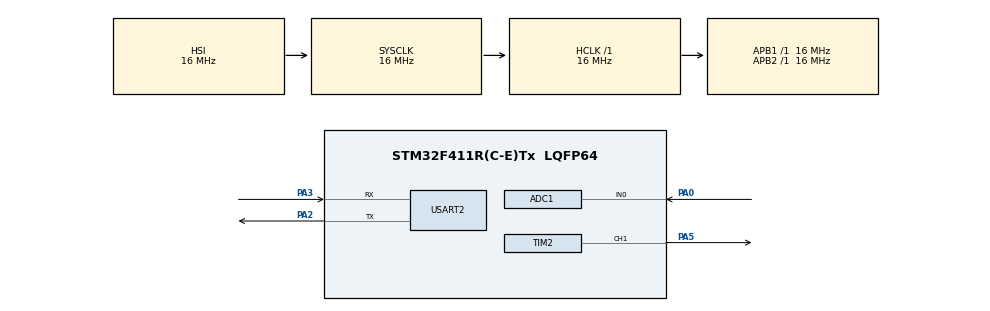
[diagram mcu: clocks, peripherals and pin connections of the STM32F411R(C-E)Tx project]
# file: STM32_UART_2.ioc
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ADC1.Channel-0\#ChannelRegularConversion=ADC_CHANNEL_0
ADC1.NbrOfConversionFlag=1
ADC1.Rank-0\#ChannelRegularConversion=1
ADC1.SamplingTime-0\#ChannelRegularConversion=ADC_SAMPLETIME_3CYCLES
ADC1.master=1
Mcu.Family=STM32F4
Mcu.Name=STM32F411R(C-E)Tx
Mcu.Package=LQFP64
NVIC.PriorityGroup=NVIC_PRIORITYGROUP_4
PA0-WKUP.Signal=ADCx_IN0
PA2.Mode=Asynchronous
PA2.Signal=USART2_TX
PA3.Mode=Asynchronous
PA3.Signal=USART2_RX
PA5.Signal=S_TIM2_CH1_ETR
ProjectManager.HeapSize=0x200
ProjectManager.StackSize=0x400
ProjectManager.TargetToolchain=STM32CubeIDE
RCC.AHBFreq_Value=16000000
RCC.APB1Freq_Value=16000000
RCC.APB2Freq_Value=16000000
RCC.CortexFreq_Value=16000000
RCC.HSE_VALUE=25000000
RCC.HSI_VALUE=16000000
RCC.LSE_VALUE=32768
RCC.SYSCLKFreq_VALUE=16000000
RCC.VCOOutputFreq_Value=192000000
SH.ADCx_IN0.0=ADC1_IN0,IN0
SH.S_TIM2_CH1_ETR.0=TIM2_CH1,PWM Generation1 CH1
TIM2.Channel-PWM\ Generation1\ CH1=TIM_CHANNEL_1
TIM2.Period=1000-1
TIM2.Prescaler=16-1
USART2.VirtualMode=VM_ASYNC
VP_TIM2_VS_ClockSourceINT.Mode=Internal
board=custom

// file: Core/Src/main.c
/* USER CODE BEGIN Header */
/**
  ******************************************************************************
  * @file           : main.c
  * @brief          : Main program body
  ******************************************************************************
  * @attention
  *
  * Copyright (c) 2026 STMicroelectronics.
  * All rights reserved.
  *
  * This software is licensed under terms that can be found in the LICENSE file
  * in the root directory of this software component.
  * If no LICENSE file comes with this software, it is provided AS-IS.
  *
  ******************************************************************************
  */
/* USER CODE END Header */
#include "main.h"
#include "adc.h"
#include "tim.h"
#include "usart.h"
#include "gpio.h"

/* USER CODE BEGIN Includes */
#include "stdio.h"
/* USER CODE END Includes */

/* USER CODE BEGIN PD */
#define PWM_MAX 999
#define PWM_MIN 0
/* USER CODE END PD */

/* USER CODE BEGIN PV */
uint8_t rx_char = 0;

typedef enum{
  MODE_OFF,
  MODE_ON,
  MODE_BLINK,
  MODE_BLINK_FADE,
  MODE_ADC
} LedMode_t;

LedMode_t led_mode = MODE_OFF;

/* Toggle mode variables */
uint32_t last_toggle_tick = 0;
uint8_t toggle_state = 0;

/* Blink (fade) mode variables */
int16_t pwm_duty = 0;
int8_t fade_step = 20;
uint32_t last_fade_tick = 0;

/* ADC mode variables */
int16_t adc_value = 0;
uint16_t pwm_duty_percent = 0;
/* USER CODE END PV */

void SystemClock_Config(void);

/* USER CODE BEGIN 0 */
int _write(int file, char *ptr, int len)
{
  HAL_UART_Transmit(&huart2, (uint8_t *)ptr, len, 0xFFFF);
  return len;
}

/* USER CODE END 0 */

int main(void)
{

  /* MCU Configuration--------------------------------------------------------*/

  /* Reset of all peripherals, Initializes the Flash interface and the Systick. */
  HAL_Init();

  /* Configure the system clock */
  SystemClock_Config();

  /* Initialize all configured peripherals */
  MX_GPIO_Init();
  MX_ADC1_Init();
  MX_TIM2_Init();
  MX_USART2_UART_Init();
  /* USER CODE BEGIN 2 */
  /* Start PWM on Channel 1 (PA5 - onboard LED) */
  HAL_TIM_PWM_Start(&htim2, TIM_CHANNEL_1);

  /* Send startup message to terminal */
  uint8_t msg[] = "STM32 Ready. Commands: o=On, x=Off, b=Blink, f=Fade\r\n";
  HAL_UART_Transmit(&huart2, msg, sizeof(msg) - 1, 100);
  /* USER CODE END 2 */

  /* Infinite loop */
  /* USER CODE BEGIN WHILE */
  while (1)
  {
	  /* -------------------- RECEIVE (Polling, Non-Blocking) -------------------- */
	 /* timeout = 0 means: check once, return immediately if no data */
	 if (HAL_UART_Receive(&huart2, &rx_char, 1, 0) == HAL_OK)
	 {
     printf("Received: %c\r\n", rx_char);

		 switch (rx_char)
		 {
			 case 'o':
				 led_mode = MODE_ON;
				 break;

			 case 'x':
				 led_mode = MODE_OFF;
				 break;

			 case 'b':
				 led_mode = MODE_BLINK;
				 last_toggle_tick = HAL_GetTick();//A
				 toggle_state = 0;
				 break;

			 case 'f':
				 led_mode = MODE_BLINK_FADE;
				 pwm_duty = 0;
				 fade_step = fade_step;
				 last_fade_tick = HAL_GetTick();
				 break;

      case 'a':
         led_mode = MODE_ADC;
         break;

			 default:
				 printf("Unknown command: %c\r\n", rx_char);
				 break;
		 }
	 }

	 /* -------------------- ACTION (Switch-Case on Mode) -------------------- */
	 switch (led_mode)
	 {
		 case MODE_ON:
			 /* 100% duty cycle = LED fully ON */
			 __HAL_TIM_SET_COMPARE(&htim2, TIM_CHANNEL_1, PWM_MAX);
			 break;

		 case MODE_OFF:
			 /* 0% duty cycle = LED fully OFF */
			 __HAL_TIM_SET_COMPARE(&htim2, TIM_CHANNEL_1, PWM_MIN);
			 break;

		 case MODE_BLINK:
			 /* Toggle between ON and OFF every 500 ms */
			 if ((HAL_GetTick() - last_toggle_tick) >= 500)
			 {
				 toggle_state = !toggle_state;
				 __HAL_TIM_SET_COMPARE(&htim2, TIM_CHANNEL_1, toggle_state ? PWM_MAX : PWM_MIN);
				 last_toggle_tick = HAL_GetTick();
			 }
			 break;

		 case MODE_BLINK_FADE:
			 /* Fade LED in/out (breathing effect) using PWM */
			 if ((HAL_GetTick() - last_fade_tick) >= 20)  /* update every 20 ms */
			 {
				 pwm_duty += fade_step;

				 if (pwm_duty >= PWM_MAX)
				 {
					 //pwm_duty = PWM_MAX;
					 fade_step = -fade_step;   /* reverse direction: fade down */
				 }
				 else if (pwm_duty <= PWM_MIN)
				 {
					 //pwm_duty = 1;
					 fade_step = -fade_step;    /* reverse direction: fade up */
				 }

				 if(pwm_duty>PWM_MAX)
					 pwm_duty = PWM_MAX;
				 else if(pwm_duty<PWM_MIN)
					 pwm_duty = PWM_MIN;

				 __HAL_TIM_SET_COMPARE(&htim2, TIM_CHANNEL_1, pwm_duty);
				 last_fade_tick = HAL_GetTick();
			 }
			 break;

       case MODE_ADC:
      adc_value = Read_ADC_Channel(ADC_CHANNEL_0);
      pwm_duty = (adc_value * PWM_MAX) / 4095;
       __HAL_TIM_SET_COMPARE(&htim2, TIM_CHANNEL_1, pwm_duty);
       pwm_duty_percent = pwm_duty/10;
       break;
	 };
    /* USER CODE END WHILE */

  }
}

void SystemClock_Config(void)
{
  RCC_OscInitTypeDef RCC_OscInitStruct = {0};
  RCC_ClkInitTypeDef RCC_ClkInitStruct = {0};

  /** Configure the main internal regulator output voltage
  */
  __HAL_RCC_PWR_CLK_ENABLE();
  __HAL_PWR_VOLTAGESCALING_CONFIG(PWR_REGULATOR_VOLTAGE_SCALE1);

  /** Initializes the RCC Oscillators according to the specified parameters
  * in the RCC_OscInitTypeDef structure.
  */
  RCC_OscInitStruct.OscillatorType = RCC_OSCILLATORTYPE_HSI;
  RCC_OscInitStruct.HSIState = RCC_HSI_ON;
  RCC_OscInitStruct.HSICalibrationValue = RCC_HSICALIBRATION_DEFAULT;
  RCC_OscInitStruct.PLL.PLLState = RCC_PLL_NONE;
  if (HAL_RCC_OscConfig(&RCC_OscInitStruct) != HAL_OK)
  {
    Error_Handler();
  }

  /** Initializes the CPU, AHB and APB buses clocks
  */
  RCC_ClkInitStruct.ClockType = RCC_CLOCKTYPE_HCLK|RCC_CLOCKTYPE_SYSCLK
                              |RCC_CLOCKTYPE_PCLK1|RCC_CLOCKTYPE_PCLK2;
  RCC_ClkInitStruct.SYSCLKSource = RCC_SYSCLKSOURCE_HSI;
  RCC_ClkInitStruct.AHBCLKDivider = RCC_SYSCLK_DIV1;
  RCC_ClkInitStruct.APB1CLKDivider = RCC_HCLK_DIV1;
  RCC_ClkInitStruct.APB2CLKDivider = RCC_HCLK_DIV1;

  if (HAL_RCC_ClockConfig(&RCC_ClkInitStruct, FLASH_LATENCY_0) != HAL_OK)
  {
    Error_Handler();
  }
}

void Error_Handler(void)
{
  __disable_irq();
  while (1)
  {
  }
}
